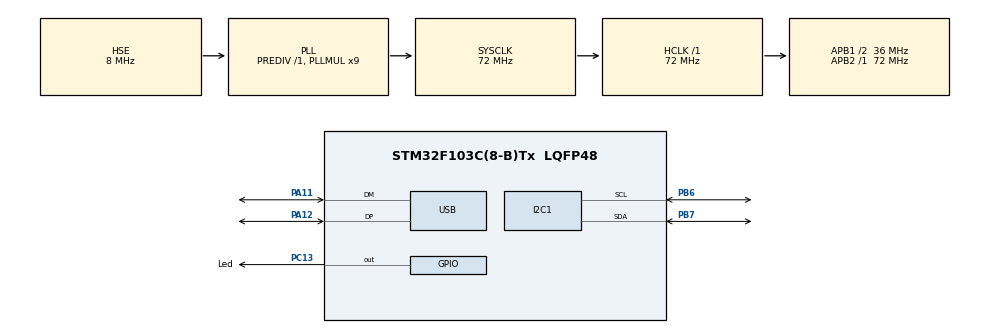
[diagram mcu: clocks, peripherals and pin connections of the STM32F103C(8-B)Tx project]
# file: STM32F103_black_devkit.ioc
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FREERTOS.Tasks01=sendData,24,128,startSendData,Default,NULL,Dynamic,NULL,NULL
FREERTOS.configUSE_NEWLIB_REENTRANT=1
Mcu.Family=STM32F1
Mcu.Name=STM32F103C(8-B)Tx
Mcu.Package=LQFP48
NVIC.PriorityGroup=NVIC_PRIORITYGROUP_4
NVIC.TIM4_IRQn=true\:15\:0\:false\:false\:true\:false\:false\:true\:true
NVIC.TimeBase=TIM4_IRQn
NVIC.TimeBaseIP=TIM4
NVIC.USB_LP_CAN1_RX0_IRQn=true\:5\:0\:false\:false\:true\:true\:false\:true\:true
PA11.Mode=Device
PA11.Signal=USB_DM
PA12.Mode=Device
PA12.Signal=USB_DP
PA13.Mode=Serial_Wire
PA13.Signal=SYS_JTMS-SWDIO
PA14.Mode=Serial_Wire
PA14.Signal=SYS_JTCK-SWCLK
PB6.Mode=I2C
PB6.Signal=I2C1_SCL
PB7.Mode=I2C
PB7.Signal=I2C1_SDA
PC13-TAMPER-RTC.GPIO_Label=Led
PC13-TAMPER-RTC.Signal=GPIO_Output
PD0-OSC_IN.Mode=HSE-External-Oscillator
PD0-OSC_IN.Signal=RCC_OSC_IN
PD1-OSC_OUT.Mode=HSE-External-Oscillator
PD1-OSC_OUT.Signal=RCC_OSC_OUT
ProjectManager.HeapSize=0x200
ProjectManager.StackSize=0x400
ProjectManager.TargetToolchain=STM32CubeIDE
RCC.AHBFreq_Value=72000000
RCC.APB1CLKDivider=RCC_HCLK_DIV2
RCC.APB1Freq_Value=36000000
RCC.APB1TimFreq_Value=72000000
RCC.APB2Freq_Value=72000000
RCC.APB2TimFreq_Value=72000000
RCC.HCLKFreq_Value=72000000
RCC.PLLMUL=RCC_PLL_MUL9
RCC.PLLSourceVirtual=RCC_PLLSOURCE_HSE
RCC.SYSCLKFreq_VALUE=72000000
RCC.SYSCLKSource=RCC_SYSCLKSOURCE_PLLCLK
RCC.USBFreq_Value=48000000
RCC.USBPrescaler=RCC_USBCLKSOURCE_PLL_DIV1_5
USB_DEVICE.CLASS_NAME_FS=CDC
USB_DEVICE.MANUFACTURER_STRING=Skyline
USB_DEVICE.PRODUCT_STRING_CDC_FS=Skyline
USB_DEVICE.VirtualMode=Cdc
USB_DEVICE.VirtualModeFS=Cdc_FS
VP_FREERTOS_VS_CMSIS_V2.Mode=CMSIS_V2
VP_SYS_VS_tim4.Mode=TIM4
VP_USB_DEVICE_VS_USB_DEVICE_CDC_FS.Mode=CDC_FS
board=custom

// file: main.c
/* USER CODE BEGIN Header */
/**
  ******************************************************************************
  * @file           : main.c
  * @brief          : Main program body
  ******************************************************************************
  * @attention
  *
  * Copyright (c) 2022 STMicroelectronics.
  * All rights reserved.
  *
  * This software is licensed under terms that can be found in the LICENSE file
  * in the root directory of this software component.
  * If no LICENSE file comes with this software, it is provided AS-IS.
  *
  ******************************************************************************
  */
/* USER CODE END Header */
#include "main.h"
#include "cmsis_os.h"
#include "usb_device.h"

/* USER CODE BEGIN Includes */
#include "usbd_cdc_if.h"
#include "string.h"

/* USER CODE END Includes */

I2C_HandleTypeDef hi2c1;

/* Definitions for sendData */
osThreadId_t sendDataHandle;
const osThreadAttr_t sendData_attributes = {
  .name = "sendData",
  .stack_size = 128 * 4,
  .priority = (osPriority_t) osPriorityNormal,
};
/* USER CODE BEGIN PV */

char *msg = "Hello world from Devkit\n";

/* USER CODE END PV */

void SystemClock_Config(void);
static void MX_GPIO_Init(void);
static void MX_I2C1_Init(void);
void startSendData(void *argument);

/* USER CODE BEGIN PFP */

float onBoardTmp(void);

/* USER CODE END PFP */

/* USER CODE BEGIN 0 */

float onBoardTmp(void)
{//INSPIRATION AND TUTORIAL: https://www.digikey.com/en/maker/projects/getting-started-with-stm32-i2c-example/ba8c2bfef2024654b5dd10012425fa23

	static const uint8_t TMP102_ADDR = 0x48 << 1; // Use 8-bit address
	static const uint8_t REG_TEMP 	 = 0x00;

	HAL_StatusTypeDef ret;
	uint8_t buf[12];
	int16_t tempRaw;
	float tempCelsius;

	// Tell TMP102 that we want to read from the temperature register
	buf[0] = REG_TEMP;

	ret = HAL_I2C_Master_Transmit(&hi2c1, TMP102_ADDR, buf, 1, HAL_MAX_DELAY);

	if ( ret != HAL_OK )
	{

		//strcpy((char*)buf, "Error Tx\r\n");
		//I have yet to make something about erros

	}else
	{

		// Read 2 bytes from the temperature register
		ret = HAL_I2C_Master_Receive(&hi2c1, TMP102_ADDR, buf, 2, HAL_MAX_DELAY);

		if ( ret != HAL_OK ) {
			//strcpy((char*)buf, "Error Rx\r\n");
			//I have yet to make something about erros

	}else
		{
			//	Combine the bytes
			tempRaw = ((int16_t)buf[0] << 4) | (buf[1] >> 4);

			// Convert to 2's complement, since temperature can be negative
			if ( tempRaw > 0x7FF )
			{
				tempRaw |= 0xF000;
			}

			// Convert to float temperature value (Celsius)
			tempCelsius = tempRaw * 0.0625;

		}
	}

	//return the float value of temperature
	return tempCelsius;
}

/* USER CODE END 0 */

int main(void)
{

  /* MCU Configuration--------------------------------------------------------*/

  /* Reset of all peripherals, Initializes the Flash interface and the Systick. */
  HAL_Init();

  /* Configure the system clock */
  SystemClock_Config();

  /* Initialize all configured peripherals */
  MX_GPIO_Init();
  MX_I2C1_Init();

  /* Init scheduler */
  osKernelInitialize();

  /* Create the thread(s) */
  /* creation of sendData */
  sendDataHandle = osThreadNew(startSendData, NULL, &sendData_attributes);

  /* Start scheduler */
  osKernelStart();

  /* We should never get here as control is now taken by the scheduler */
  /* Infinite loop */
  /* USER CODE BEGIN WHILE */

  CDC_Transmit_FS((uint8_t *)msg, strlen(msg));
  osDelay(250);

  while (1)
  {
    /* USER CODE END WHILE */

	  osDelay(1);
  }
}

void SystemClock_Config(void)
{
  RCC_OscInitTypeDef RCC_OscInitStruct = {0};
  RCC_ClkInitTypeDef RCC_ClkInitStruct = {0};
  RCC_PeriphCLKInitTypeDef PeriphClkInit = {0};

  /** Initializes the RCC Oscillators according to the specified parameters
  * in the RCC_OscInitTypeDef structure.
  */
  RCC_OscInitStruct.OscillatorType = RCC_OSCILLATORTYPE_HSE;
  RCC_OscInitStruct.HSEState = RCC_HSE_ON;
  RCC_OscInitStruct.HSEPredivValue = RCC_HSE_PREDIV_DIV1;
  RCC_OscInitStruct.HSIState = RCC_HSI_ON;
  RCC_OscInitStruct.PLL.PLLState = RCC_PLL_ON;
  RCC_OscInitStruct.PLL.PLLSource = RCC_PLLSOURCE_HSE;
  RCC_OscInitStruct.PLL.PLLMUL = RCC_PLL_MUL9;
  if (HAL_RCC_OscConfig(&RCC_OscInitStruct) != HAL_OK)
  {
    Error_Handler();
  }

  /** Initializes the CPU, AHB and APB buses clocks
  */
  RCC_ClkInitStruct.ClockType = RCC_CLOCKTYPE_HCLK|RCC_CLOCKTYPE_SYSCLK
                              |RCC_CLOCKTYPE_PCLK1|RCC_CLOCKTYPE_PCLK2;
  RCC_ClkInitStruct.SYSCLKSource = RCC_SYSCLKSOURCE_PLLCLK;
  RCC_ClkInitStruct.AHBCLKDivider = RCC_SYSCLK_DIV1;
  RCC_ClkInitStruct.APB1CLKDivider = RCC_HCLK_DIV2;
  RCC_ClkInitStruct.APB2CLKDivider = RCC_HCLK_DIV1;

  if (HAL_RCC_ClockConfig(&RCC_ClkInitStruct, FLASH_LATENCY_2) != HAL_OK)
  {
    Error_Handler();
  }
  PeriphClkInit.PeriphClockSelection = RCC_PERIPHCLK_USB;
  PeriphClkInit.UsbClockSelection = RCC_USBCLKSOURCE_PLL_DIV1_5;
  if (HAL_RCCEx_PeriphCLKConfig(&PeriphClkInit) != HAL_OK)
  {
    Error_Handler();
  }
}

static void MX_I2C1_Init(void)
{

  hi2c1.Instance = I2C1;
  hi2c1.Init.ClockSpeed = 100000;
  hi2c1.Init.DutyCycle = I2C_DUTYCYCLE_2;
  hi2c1.Init.OwnAddress1 = 0;
  hi2c1.Init.AddressingMode = I2C_ADDRESSINGMODE_7BIT;
  hi2c1.Init.DualAddressMode = I2C_DUALADDRESS_DISABLE;
  hi2c1.Init.OwnAddress2 = 0;
  hi2c1.Init.GeneralCallMode = I2C_GENERALCALL_DISABLE;
  hi2c1.Init.NoStretchMode = I2C_NOSTRETCH_DISABLE;
  if (HAL_I2C_Init(&hi2c1) != HAL_OK)
  {
    Error_Handler();
  }

}

static void MX_GPIO_Init(void)
{
  GPIO_InitTypeDef GPIO_InitStruct = {0};

  /* GPIO Ports Clock Enable */
  __HAL_RCC_GPIOC_CLK_ENABLE();
  __HAL_RCC_GPIOD_CLK_ENABLE();
  __HAL_RCC_GPIOA_CLK_ENABLE();
  __HAL_RCC_GPIOB_CLK_ENABLE();

  /*Configure GPIO pin Output Level */
  HAL_GPIO_WritePin(Led_GPIO_Port, Led_Pin, GPIO_PIN_RESET);

  /*Configure GPIO pin : Led_Pin */
  GPIO_InitStruct.Pin = Led_Pin;
  GPIO_InitStruct.Mode = GPIO_MODE_OUTPUT_PP;
  GPIO_InitStruct.Pull = GPIO_NOPULL;
  GPIO_InitStruct.Speed = GPIO_SPEED_FREQ_LOW;
  HAL_GPIO_Init(Led_GPIO_Port, &GPIO_InitStruct);

}

void startSendData(void *argument)
{
  /* init code for USB_DEVICE */
  MX_USB_DEVICE_Init();
  /* USER CODE BEGIN 5 */

  float   temp_c  =  0;
  uint8_t buf[50] = "";

  /* Infinite loop */
  for(;;)
  {
	HAL_GPIO_TogglePin(GPIOC, Led_Pin);
	temp_c = onBoardTmp();

	temp_c *= 100;
	sprintf((char*)buf, "On board temp: %u.%u C\r\n", ( (unsigned int)temp_c / 100 ), ( (unsigned int)temp_c % 100) );

	CDC_Transmit_FS((uint8_t *) buf, strlen((char *)buf));

	osDelay(1000);
  }
  /* USER CODE END 5 */
}

void HAL_TIM_PeriodElapsedCallback(TIM_HandleTypeDef *htim)
{
  if (htim->Instance == TIM4) {
    HAL_IncTick();
  }
}

void Error_Handler(void)
{
  __disable_irq();
  while (1)
  {
  }
}
